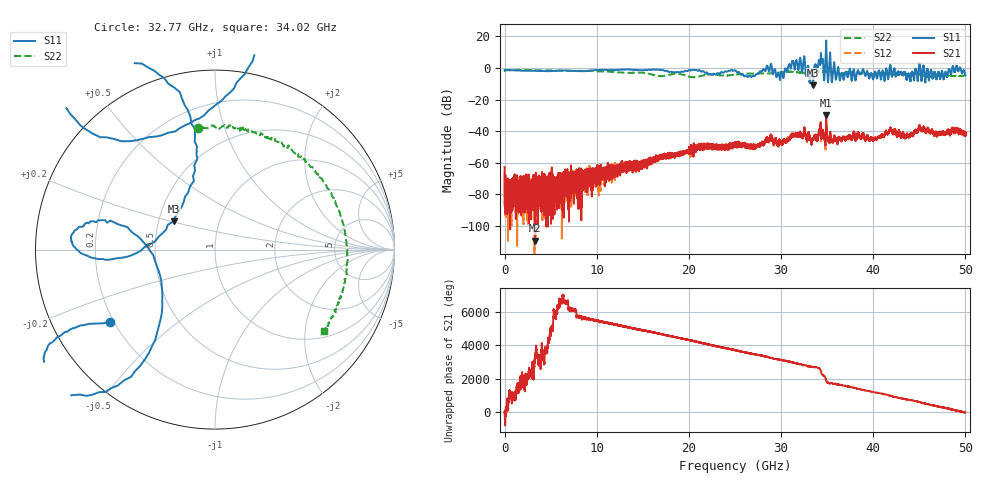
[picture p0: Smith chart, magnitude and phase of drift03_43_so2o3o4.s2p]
!Created with skrf (http://scikit-rf.org).
# Hz S RI R 50.0
!freq ReS11 ImS11 ReS21 ImS21 ReS12 ImS12 ReS22 ImS22
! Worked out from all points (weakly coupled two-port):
!   10001 points, 300 kHz to 50 GHz, reference 50 ohm
!   highest |S21| = -29.77 dB at 34.89 GHz (marker M1); lowest = -109.1 dB at 3.33 GHz (marker M2)
!   lowest |S11| = -11.1 dB at 33.47 GHz (marker M3), VSWR 1.77, Z = 30.1 + j10.2 ohm
!   |S11| at or under -10 dB: 33.44678 GHz to 33.48416 GHz (37.38 MHz wide, 0.112 % of centre)
!   |S22| runs from -5.9 to -1.3 dB; largest |S21 - S12| = 0.0066
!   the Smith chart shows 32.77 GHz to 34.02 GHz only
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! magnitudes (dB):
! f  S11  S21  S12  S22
! 300 kHz  -1.3  -62.7  -66.4  -2.0
! 380.3 MHz  -1.4  -82.7  -88.5  -1.4
! 3.33 GHz  -1.9  -109.1  -89.6  -1.5
! 8.335 GHz  -2.2  -66.0  -69.3  -1.9
! 16.67 GHz  -1.1  -55.9  -55.9  -5.2
! 25 GHz  -1.5  -48.0  -48.8  -4.3
! 26.92 GHz  -4.9  -49.4  -49.4  -3.5
! 28.73 GHz  -2.2  -45.7  -45.2  -3.5
! 30.06 GHz  -2.5  -48.3  -47.7  -2.8
! 31.87 GHz  -1.4  -42.5  -41.6  -2.9
! 33.34 GHz  -2.2  -47.4  -47.1  -2.9
! 33.47 GHz  -11.1  -44.8  -45.1  -2.8
! 34.3 GHz  7.3  -34.3  -34.5  -2.3
! 34.89 GHz  17.2  -29.8  -31.6  -2.4
! 36.58 GHz  -3.4  -45.6  -45.9  -3.6
! 40.19 GHz  -2.3  -44.3  -43.9  -3.7
! 41.67 GHz  -5.4  -40.7  -40.4  -3.7
! 43.84 GHz  -3.6  -43.3  -43.7  -3.9
! 45.21 GHz  -7.0  -39.7  -38.9  -4.5
! 47.06 GHz  -2.7  -41.7  -42.3  -5.1
! 49.21 GHz  -2.0  -39.9  -39.5  -5.2
! 50 GHz  -4.7  -41.4  -43.0  -5.0
